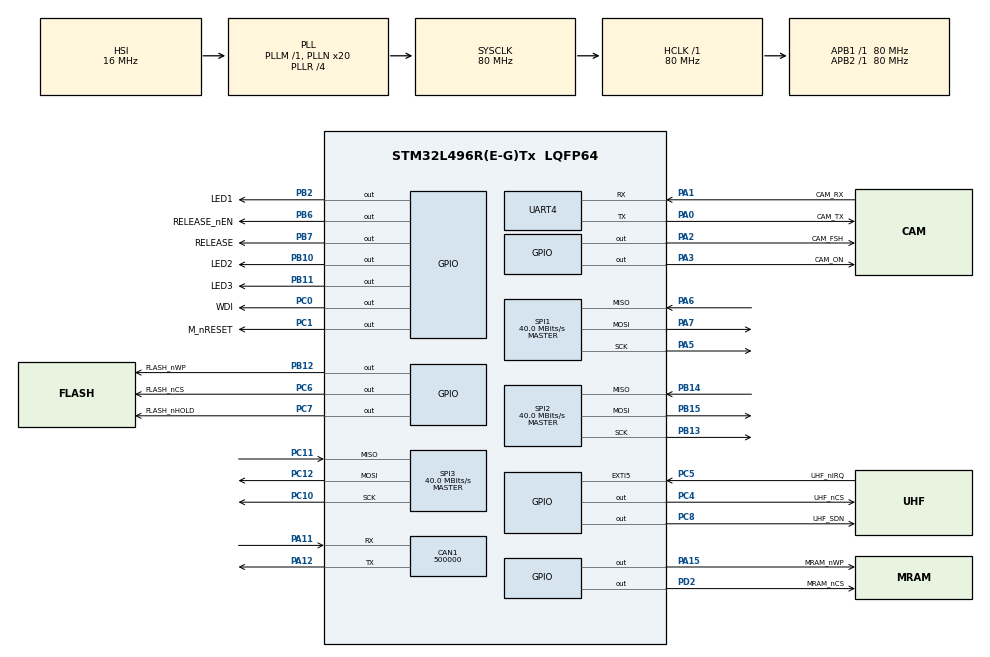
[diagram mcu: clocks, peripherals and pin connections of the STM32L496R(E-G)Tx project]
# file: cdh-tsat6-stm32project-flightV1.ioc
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CAN1.BS1=CAN_BS1_5TQ
CAN1.BS2=CAN_BS2_4TQ
CAN1.CalculateBaudRate=500000
CAN1.CalculateTimeBit=2000
CAN1.CalculateTimeQuantum=200.0
FREERTOS.Queues01=canQueue,100,CANMessage_t,0,Dynamic,NULL,NULL;flashUnitTestQueue,10,CANMessage_t,0,Dynamic,NULL,NULL;mramUnitTestQueue,10,CANMessage_t,0,Dynamic,NULL,NULL;releaseEnableQueue,10,CANMessage_t,0,Dynamic,NULL,NULL;releaseExecuteQueue,10,CANMessage_t,0,Dynamic,NULL,NULL;takePictureQueue,10,CANMessage_t,0,Dynamic,NULL,NULL;sendUHFQueue,10,CANMessage_t,0,Dynamic,NULL,NULL;getTaskListQueue,10,CANMessage_t,0,Dynamic,NULL,NULL;timeTagQueue,10,CANMessage_t,0,Dynamic,NULL,NULL
FREERTOS.Tasks01=blinkLED1,24,128,StartBlinkLED1,Default,NULL,Dynamic,NULL,NULL;blinkLED2,24,128,StartBlinkLED2,Default,NULL,Dynamic,NULL,NULL;blinkLED3,24,128,StartBlinkLED3,Default,NULL,Dynamic,NULL,NULL;toggleWDI,24,128,StartToggleWDI,Default,NULL,Dynamic,NULL,NULL;commandHandler,24,128,StartCommandHandler,Default,NULL,Dynamic,NULL,NULL;flashUnitTest,24,128,StartFlashUnitTest,Default,NULL,Dynamic,NULL,NULL;mramUnitTest,24,128,StartMRAMUnitTest,Default,NULL,Dynamic,NULL,NULL;enableRelease,24,128,StartEnableRelease,Default,NULL,Dynamic,NULL,NULL;executeRelease,24,128,StartExecuteRelease,Default,NULL,Dynamic,NULL,NULL;takePicture,24,128,StartTakePicture,Default,NULL,Dynamic,NULL,NULL;sendUHFBeacon,24,128,StartSendUHFBeacon,Default,NULL,Dynamic,NULL,NULL;getTaskList,24,128,StartGetTaskList,Default,NULL,Dynamic,NULL,NULL;timeTagTask,8,128,StartTimeTagTask,Default,NULL,Dynamic,NULL,NULL
FREERTOS.configTOTAL_HEAP_SIZE=100000
FREERTOS.configUSE_NEWLIB_REENTRANT=1
Mcu.Family=STM32L4
Mcu.Name=STM32L496R(E-G)Tx
Mcu.Package=LQFP64
NVIC.CAN1_RX0_IRQn=true\:5\:0\:false\:false\:true\:true\:true\:true\:true
NVIC.PriorityGroup=NVIC_PRIORITYGROUP_4
PA0.GPIO_Label=CAM_TX
PA0.Mode=Asynchronous
PA0.Signal=UART4_TX
PA1.GPIO_Label=CAM_RX
PA1.Mode=Asynchronous
PA1.Signal=UART4_RX
PA11.Mode=CAN_Activate
PA11.Signal=CAN1_RX
PA12.Mode=CAN_Activate
PA12.Signal=CAN1_TX
PA13\ (JTMS/SWDIO).Mode=Trace_Asynchronous_SW
PA13\ (JTMS/SWDIO).Signal=SYS_JTMS-SWDIO
PA14\ (JTCK/SWCLK).Mode=Trace_Asynchronous_SW
PA14\ (JTCK/SWCLK).Signal=SYS_JTCK-SWCLK
PA15\ (JTDI).GPIO_Label=MRAM_nWP
PA15\ (JTDI).Signal=GPIO_Output
PA2.GPIO_Label=CAM_FSH
PA2.Signal=GPIO_Output
PA3.GPIO_Label=CAM_ON
PA3.Signal=GPIO_Output
PA5.Mode=Full_Duplex_Master
PA5.Signal=SPI1_SCK
PA6.Mode=Full_Duplex_Master
PA6.Signal=SPI1_MISO
PA7.Mode=Full_Duplex_Master
PA7.Signal=SPI1_MOSI
PB10.GPIO_Label=LED2
PB10.Signal=GPIO_Output
PB11.GPIO_Label=LED3
PB11.Signal=GPIO_Output
PB12.GPIO_Label=FLASH_nWP
PB12.Signal=GPIO_Output
PB13.Mode=Full_Duplex_Master
PB13.Signal=SPI2_SCK
PB14.Mode=Full_Duplex_Master
PB14.Signal=SPI2_MISO
PB15.Mode=Full_Duplex_Master
PB15.Signal=SPI2_MOSI
PB2.GPIO_Label=LED1
PB2.Signal=GPIO_Output
PB3\ (JTDO/TRACESWO).Mode=Trace_Asynchronous_SW
PB3\ (JTDO/TRACESWO).Signal=SYS_JTDO-SWO
PB6.GPIO_Label=RELEASE_nEN
PB6.PinState=GPIO_PIN_SET
PB6.Signal=GPIO_Output
PB7.GPIO_Label=RELEASE
PB7.Signal=GPIO_Output
PC0.GPIO_Label=WDI
PC0.Signal=GPIO_Output
PC1.GPIO_Label=M_nRESET
PC1.PinState=GPIO_PIN_SET
PC1.Signal=GPIO_Output
PC10.Mode=Full_Duplex_Master
PC10.Signal=SPI3_SCK
PC11.Mode=Full_Duplex_Master
PC11.Signal=SPI3_MISO
PC12.Mode=Full_Duplex_Master
PC12.Signal=SPI3_MOSI
PC14-OSC32_IN\ (PC14).Mode=LSE-External-Oscillator
PC14-OSC32_IN\ (PC14).Signal=RCC_OSC32_IN
PC15-OSC32_OUT\ (PC15).Mode=LSE-External-Oscillator
PC15-OSC32_OUT\ (PC15).Signal=RCC_OSC32_OUT
PC4.GPIO_Label=UHF_nCS
PC4.PinState=GPIO_PIN_SET
PC4.Signal=GPIO_Output
PC5.GPIO_Label=UHF_nIRQ
PC5.Signal=GPXTI5
PC6.GPIO_Label=FLASH_nCS
PC6.PinState=GPIO_PIN_SET
PC6.Signal=GPIO_Output
PC7.GPIO_Label=FLASH_nHOLD
PC7.PinState=GPIO_PIN_SET
PC7.Signal=GPIO_Output
PC8.GPIO_Label=UHF_SDN
PC8.Signal=GPIO_Output
PD2.GPIO_Label=MRAM_nCS
PD2.PinState=GPIO_PIN_SET
PD2.Signal=GPIO_Output
PH0-OSC_IN\ (PH0).Mode=HSE-External-Oscillator
PH0-OSC_IN\ (PH0).Signal=RCC_OSC_IN
PH1-OSC_OUT\ (PH1).Mode=HSE-External-Oscillator
PH1-OSC_OUT\ (PH1).Signal=RCC_OSC_OUT
ProjectManager.HeapSize=0x200
ProjectManager.StackSize=0x400
ProjectManager.TargetToolchain=STM32CubeIDE
RCC.ADCFreq_Value=64000000
RCC.AHBFreq_Value=80000000
RCC.APB1Freq_Value=80000000
RCC.APB1TimFreq_Value=80000000
RCC.APB2Freq_Value=80000000
RCC.APB2TimFreq_Value=80000000
RCC.CortexFreq_Value=80000000
RCC.HCLKFreq_Value=80000000
RCC.HSE_Timout=200
RCC.HSE_VALUE=8000000
RCC.HSI48_VALUE=48000000
RCC.HSI_VALUE=16000000
RCC.LSE_Timout=500
RCC.MSI_VALUE=4000000
RCC.PLLN=20
RCC.PLLR=RCC_PLLR_DIV4
RCC.PLLSourceVirtual=RCC_PLLSOURCE_HSI
RCC.SYSCLKFreq_VALUE=80000000
RCC.SYSCLKSource=RCC_SYSCLKSOURCE_PLLCLK
RCC.USBFreq_Value=64000000
RCC.VCOOutputFreq_Value=320000000
SPI1.BaudRatePrescaler=SPI_BAUDRATEPRESCALER_2
SPI1.CalculateBaudRate=40.0 MBits/s
SPI1.DataSize=SPI_DATASIZE_8BIT
SPI1.Direction=SPI_DIRECTION_2LINES
SPI1.Mode=SPI_MODE_MASTER
SPI1.VirtualType=VM_MASTER
SPI2.BaudRatePrescaler=SPI_BAUDRATEPRESCALER_2
SPI2.CalculateBaudRate=40.0 MBits/s
SPI2.DataSize=SPI_DATASIZE_8BIT
SPI2.Direction=SPI_DIRECTION_2LINES
SPI2.Mode=SPI_MODE_MASTER
SPI2.VirtualType=VM_MASTER
SPI3.BaudRatePrescaler=SPI_BAUDRATEPRESCALER_2
SPI3.CalculateBaudRate=40.0 MBits/s
SPI3.DataSize=SPI_DATASIZE_8BIT
SPI3.Direction=SPI_DIRECTION_2LINES
SPI3.Mode=SPI_MODE_MASTER
SPI3.VirtualType=VM_MASTER
VP_FREERTOS_VS_CMSIS_V2.Mode=CMSIS_V2
VP_RTC_VS_RTC_Activate.Mode=RTC_Enabled
board=custom

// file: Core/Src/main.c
/* USER CODE BEGIN Header */
/**
  ******************************************************************************
  * @file           : main.c
  * @brief          : Main program body
  ******************************************************************************
  * @attention
  *
  * Copyright (c) 2023 STMicroelectronics.
  * All rights reserved.
  *
  * This software is licensed under terms that can be found in the LICENSE file
  * in the root directory of this software component.
  * If no LICENSE file comes with this software, it is provided AS-IS.
  *
  ******************************************************************************
  */
/* USER CODE END Header */
#include "main.h"
#include "cmsis_os.h"

/* USER CODE BEGIN Includes */
#include <stdio.h>
#include <stdlib.h>
#include <string.h>

#include "W25N_driver.h"
#include "W25N_driver_test.h"
#include "AS3001204_driver.h"
#include "AS3001204_driver_test.h"
#include "LEDs_driver.h"
#include "MAX6822_driver.h"
#include "LTC1154_driver.h"
#include "Si4464_driver.h"
#include "Si4464_driver_test.h"

#include "can.h"
#include "ax25.h"
/* USER CODE END Includes */

/* USER CODE BEGIN PD */
// These numbers are fairly arbitarily defined. however, we can figure out
// some mathematically-sound numbers based off of the max bitstuffed length and
// going backwards from there. -NJR
#define AX25_SCRATCH_SPACE_LEN 18
#define AX25_MESSAGE_MAX_LEN 32
#define AX25_OUTPUT_MAX_LEN 63
/* USER CODE END PD */

CAN_HandleTypeDef hcan1;

RTC_HandleTypeDef hrtc;

SPI_HandleTypeDef hspi1;
SPI_HandleTypeDef hspi2;
SPI_HandleTypeDef hspi3;

UART_HandleTypeDef huart4;

/* Definitions for blinkLED1 */
osThreadId_t blinkLED1Handle;
const osThreadAttr_t blinkLED1_attributes = {
  .name = "blinkLED1",
  .stack_size = 128 * 4,
  .priority = (osPriority_t) osPriorityNormal,
};
/* Definitions for blinkLED2 */
osThreadId_t blinkLED2Handle;
const osThreadAttr_t blinkLED2_attributes = {
  .name = "blinkLED2",
  .stack_size = 128 * 4,
  .priority = (osPriority_t) osPriorityNormal,
};
/* Definitions for blinkLED3 */
osThreadId_t blinkLED3Handle;
const osThreadAttr_t blinkLED3_attributes = {
  .name = "blinkLED3",
  .stack_size = 128 * 4,
  .priority = (osPriority_t) osPriorityNormal,
};
/* Definitions for toggleWDI */
osThreadId_t toggleWDIHandle;
const osThreadAttr_t toggleWDI_attributes = {
  .name = "toggleWDI",
  .stack_size = 128 * 4,
  .priority = (osPriority_t) osPriorityNormal,
};
/* Definitions for commandHandler */
osThreadId_t commandHandlerHandle;
const osThreadAttr_t commandHandler_attributes = {
  .name = "commandHandler",
  .stack_size = 128 * 4,
  .priority = (osPriority_t) osPriorityNormal,
};
/* Definitions for flashUnitTest */
osThreadId_t flashUnitTestHandle;
const osThreadAttr_t flashUnitTest_attributes = {
  .name = "flashUnitTest",
  .stack_size = 128 * 4,
  .priority = (osPriority_t) osPriorityNormal,
};
/* Definitions for mramUnitTest */
osThreadId_t mramUnitTestHandle;
const osThreadAttr_t mramUnitTest_attributes = {
  .name = "mramUnitTest",
  .stack_size = 128 * 4,
  .priority = (osPriority_t) osPriorityNormal,
};
/* Definitions for enableRelease */
osThreadId_t enableReleaseHandle;
const osThreadAttr_t enableRelease_attributes = {
  .name = "enableRelease",
  .stack_size = 128 * 4,
  .priority = (osPriority_t) osPriorityNormal,
};
/* Definitions for executeRelease */
osThreadId_t executeReleaseHandle;
const osThreadAttr_t executeRelease_attributes = {
  .name = "executeRelease",
  .stack_size = 128 * 4,
  .priority = (osPriority_t) osPriorityNormal,
};
/* Definitions for takePicture */
osThreadId_t takePictureHandle;
const osThreadAttr_t takePicture_attributes = {
  .name = "takePicture",
  .stack_size = 128 * 4,
  .priority = (osPriority_t) osPriorityNormal,
};
/* Definitions for sendUHFBeacon */
osThreadId_t sendUHFBeaconHandle;
const osThreadAttr_t sendUHFBeacon_attributes = {
  .name = "sendUHFBeacon",
  .stack_size = 128 * 4,
  .priority = (osPriority_t) osPriorityNormal,
};
/* Definitions for getTaskList */
osThreadId_t getTaskListHandle;
const osThreadAttr_t getTaskList_attributes = {
  .name = "getTaskList",
  .stack_size = 128 * 4,
  .priority = (osPriority_t) osPriorityNormal,
};
/* Definitions for timeTagTask */
osThreadId_t timeTagTaskHandle;
const osThreadAttr_t timeTagTask_attributes = {
  .name = "timeTagTask",
  .stack_size = 128 * 4,
  .priority = (osPriority_t) osPriorityLow,
};
/* Definitions for canQueue */
osMessageQueueId_t canQueueHandle;
const osMessageQueueAttr_t canQueue_attributes = {
  .name = "canQueue"
};
/* Definitions for flashUnitTestQueue */
osMessageQueueId_t flashUnitTestQueueHandle;
const osMessageQueueAttr_t flashUnitTestQueue_attributes = {
  .name = "flashUnitTestQueue"
};
/* Definitions for mramUnitTestQueue */
osMessageQueueId_t mramUnitTestQueueHandle;
const osMessageQueueAttr_t mramUnitTestQueue_attributes = {
  .name = "mramUnitTestQueue"
};
/* Definitions for releaseEnableQueue */
osMessageQueueId_t releaseEnableQueueHandle;
const osMessageQueueAttr_t releaseEnableQueue_attributes = {
  .name = "releaseEnableQueue"
};
/* Definitions for releaseExecuteQueue */
osMessageQueueId_t releaseExecuteQueueHandle;
const osMessageQueueAttr_t releaseExecuteQueue_attributes = {
  .name = "releaseExecuteQueue"
};
/* Definitions for takePictureQueue */
osMessageQueueId_t takePictureQueueHandle;
const osMessageQueueAttr_t takePictureQueue_attributes = {
  .name = "takePictureQueue"
};
/* Definitions for sendUHFQueue */
osMessageQueueId_t sendUHFQueueHandle;
const osMessageQueueAttr_t sendUHFQueue_attributes = {
  .name = "sendUHFQueue"
};
/* Definitions for getTaskListQueue */
osMessageQueueId_t getTaskListQueueHandle;
const osMessageQueueAttr_t getTaskListQueue_attributes = {
  .name = "getTaskListQueue"
};
/* Definitions for timeTagQueue */
osMessageQueueId_t timeTagQueueHandle;
const osMessageQueueAttr_t timeTagQueue_attributes = {
  .name = "timeTagQueue"
};

void SystemClock_Config(void);
static void MX_GPIO_Init(void);
static void MX_CAN1_Init(void);
static void MX_SPI1_Init(void);
static void MX_SPI2_Init(void);
static void MX_SPI3_Init(void);
static void MX_UART4_Init(void);
static void MX_RTC_Init(void);
void StartBlinkLED1(void *argument);
void StartBlinkLED2(void *argument);
void StartBlinkLED3(void *argument);
void StartToggleWDI(void *argument);
void StartCommandHandler(void *argument);
void StartFlashUnitTest(void *argument);
void StartMRAMUnitTest(void *argument);
void StartEnableRelease(void *argument);
void StartExecuteRelease(void *argument);
void StartTakePicture(void *argument);
void StartSendUHFBeacon(void *argument);
void StartGetTaskList(void *argument);
void StartTimeTagTask(void *argument);

int main(void)
{

  /* MCU Configuration--------------------------------------------------------*/

  /* Reset of all peripherals, Initializes the Flash interface and the Systick. */
  HAL_Init();

  /* Configure the system clock */
  SystemClock_Config();

  /* Initialize all configured peripherals */
  MX_GPIO_Init();
  MX_CAN1_Init();
  MX_SPI1_Init();
  MX_SPI2_Init();
  MX_SPI3_Init();
  MX_UART4_Init();
  MX_RTC_Init();
  /* USER CODE BEGIN 2 */
  MAX6822_Init();

  LEDs_Init();

  LTC1154_Init();

  HAL_StatusTypeDef can_operation_status;
  can_operation_status = CAN_Init();
  if (can_operation_status != HAL_OK) goto error;

  W25N_StatusTypeDef w25n_operation_status;
  w25n_operation_status = W25N_Init();
  if (w25n_operation_status != W25N_HAL_OK) goto error;

  HAL_StatusTypeDef as3001204_operation_status;
  as3001204_operation_status = AS3001204_Init();
  if (as3001204_operation_status != HAL_OK) goto error;

  Si4464_StatusTypeDef si4464_operation_status;
  Si4464_Reset_Device();
  Si4464_Get_CTS(); // Doesn't pass errors via return value.
  si4464_operation_status = Si4464_Init_Device();
  if (si4464_operation_status != SI4464_HAL_OK) goto error;
  si4464_operation_status = Si4464_Set_One_Prop(0x12, 0x06, 0x01);
  if (si4464_operation_status != SI4464_HAL_OK) goto error;

  //this code performs the W25N unit tests
  //this code should be completed after power cycling the W25N
  /*w25n_operation_status = Test_W25N();
  if (w25n_operation_status != W25N_HAL_OK) goto error;
  w25n_operation_status = W25N_Reset_And_Init();
  if (w25n_operation_status != W25N_HAL_OK) goto error;*/

  //this code performs the AS3001204 unit tests
  //this code should be completed after power cycling the AS3001204
  /*as3001204_operation_status = AS3001204_Test_MRAM_Driver();
  if (as3001204_operation_status != HAL_OK) goto error;
  as3001204_operation_status = AS3001204_Init();
  if (as3001204_operation_status != HAL_OK) goto error;*/

  // This code performs the Si4464 unit tests.
  // This code should be completed after power cycling the Si4464.
  si4464_operation_status = Test_Si4464();
  if (si4464_operation_status != SI4464_HAL_OK) goto error;

  /* USER CODE END 2 */

  /* Init scheduler */
  osKernelInitialize();

  /* Create the queue(s) */
  /* creation of canQueue */
  canQueueHandle = osMessageQueueNew (100, sizeof(CANMessage_t), &canQueue_attributes);

  /* creation of flashUnitTestQueue */
  flashUnitTestQueueHandle = osMessageQueueNew (10, sizeof(CANMessage_t), &flashUnitTestQueue_attributes);

  /* creation of mramUnitTestQueue */
  mramUnitTestQueueHandle = osMessageQueueNew (10, sizeof(CANMessage_t), &mramUnitTestQueue_attributes);

  /* creation of releaseEnableQueue */
  releaseEnableQueueHandle = osMessageQueueNew (10, sizeof(CANMessage_t), &releaseEnableQueue_attributes);

  /* creation of releaseExecuteQueue */
  releaseExecuteQueueHandle = osMessageQueueNew (10, sizeof(CANMessage_t), &releaseExecuteQueue_attributes);

  /* creation of takePictureQueue */
  takePictureQueueHandle = osMessageQueueNew (10, sizeof(CANMessage_t), &takePictureQueue_attributes);

  /* creation of sendUHFQueue */
  sendUHFQueueHandle = osMessageQueueNew (10, sizeof(CANMessage_t), &sendUHFQueue_attributes);

  /* creation of getTaskListQueue */
  getTaskListQueueHandle = osMessageQueueNew (10, sizeof(CANMessage_t), &getTaskListQueue_attributes);

  /* creation of timeTagQueue */
  timeTagQueueHandle = osMessageQueueNew (10, sizeof(CANMessage_t), &timeTagQueue_attributes);

  /* Create the thread(s) */
  /* creation of blinkLED1 */
  blinkLED1Handle = osThreadNew(StartBlinkLED1, NULL, &blinkLED1_attributes);

  /* creation of blinkLED2 */
  blinkLED2Handle = osThreadNew(StartBlinkLED2, NULL, &blinkLED2_attributes);

  /* creation of blinkLED3 */
  blinkLED3Handle = osThreadNew(StartBlinkLED3, NULL, &blinkLED3_attributes);

  /* creation of toggleWDI */
  toggleWDIHandle = osThreadNew(StartToggleWDI, NULL, &toggleWDI_attributes);

  /* creation of commandHandler */
  commandHandlerHandle = osThreadNew(StartCommandHandler, NULL, &commandHandler_attributes);

  /* creation of flashUnitTest */
  flashUnitTestHandle = osThreadNew(StartFlashUnitTest, NULL, &flashUnitTest_attributes);

  /* creation of mramUnitTest */
  mramUnitTestHandle = osThreadNew(StartMRAMUnitTest, NULL, &mramUnitTest_attributes);

  /* creation of enableRelease */
  enableReleaseHandle = osThreadNew(StartEnableRelease, NULL, &enableRelease_attributes);

  /* creation of executeRelease */
  executeReleaseHandle = osThreadNew(StartExecuteRelease, NULL, &executeRelease_attributes);

  /* creation of takePicture */
  takePictureHandle = osThreadNew(StartTakePicture, NULL, &takePicture_attributes);

  /* creation of sendUHFBeacon */
  sendUHFBeaconHandle = osThreadNew(StartSendUHFBeacon, NULL, &sendUHFBeacon_attributes);

  /* creation of getTaskList */
  getTaskListHandle = osThreadNew(StartGetTaskList, NULL, &getTaskList_attributes);

  /* creation of timeTagTask */
  timeTagTaskHandle = osThreadNew(StartTimeTagTask, NULL, &timeTagTask_attributes);

  /* Start scheduler */
  osKernelStart();
  /* We should never get here as control is now taken by the scheduler */
  /* Infinite loop */
  while (1)
  {

    /* USER CODE BEGIN 3 */
  }

error:
  exit(1);
  /* USER CODE END 3 */
}

void SystemClock_Config(void)
{
  RCC_OscInitTypeDef RCC_OscInitStruct = {0};
  RCC_ClkInitTypeDef RCC_ClkInitStruct = {0};

  /** Configure the main internal regulator output voltage
  */
  if (HAL_PWREx_ControlVoltageScaling(PWR_REGULATOR_VOLTAGE_SCALE1) != HAL_OK)
  {
    Error_Handler();
  }

  /** Initializes the RCC Oscillators according to the specified parameters
  * in the RCC_OscInitTypeDef structure.
  */
  RCC_OscInitStruct.OscillatorType = RCC_OSCILLATORTYPE_HSI|RCC_OSCILLATORTYPE_LSI;
  RCC_OscInitStruct.HSIState = RCC_HSI_ON;
  RCC_OscInitStruct.HSICalibrationValue = RCC_HSICALIBRATION_DEFAULT;
  RCC_OscInitStruct.LSIState = RCC_LSI_ON;
  RCC_OscInitStruct.PLL.PLLState = RCC_PLL_ON;
  RCC_OscInitStruct.PLL.PLLSource = RCC_PLLSOURCE_HSI;
  RCC_OscInitStruct.PLL.PLLM = 1;
  RCC_OscInitStruct.PLL.PLLN = 20;
  RCC_OscInitStruct.PLL.PLLP = RCC_PLLP_DIV2;
  RCC_OscInitStruct.PLL.PLLQ = RCC_PLLQ_DIV2;
  RCC_OscInitStruct.PLL.PLLR = RCC_PLLR_DIV4;
  if (HAL_RCC_OscConfig(&RCC_OscInitStruct) != HAL_OK)
  {
    Error_Handler();
  }

  /** Initializes the CPU, AHB and APB buses clocks
  */
  RCC_ClkInitStruct.ClockType = RCC_CLOCKTYPE_HCLK|RCC_CLOCKTYPE_SYSCLK
                              |RCC_CLOCKTYPE_PCLK1|RCC_CLOCKTYPE_PCLK2;
  RCC_ClkInitStruct.SYSCLKSource = RCC_SYSCLKSOURCE_PLLCLK;
  RCC_ClkInitStruct.AHBCLKDivider = RCC_SYSCLK_DIV1;
  RCC_ClkInitStruct.APB1CLKDivider = RCC_HCLK_DIV1;
  RCC_ClkInitStruct.APB2CLKDivider = RCC_HCLK_DIV1;

  if (HAL_RCC_ClockConfig(&RCC_ClkInitStruct, FLASH_LATENCY_4) != HAL_OK)
  {
    Error_Handler();
  }
}

static void MX_CAN1_Init(void)
{

  hcan1.Instance = CAN1;
  hcan1.Init.Prescaler = 16;
  hcan1.Init.Mode = CAN_MODE_NORMAL;
  hcan1.Init.SyncJumpWidth = CAN_SJW_1TQ;
  hcan1.Init.TimeSeg1 = CAN_BS1_5TQ;
  hcan1.Init.TimeSeg2 = CAN_BS2_4TQ;
  hcan1.Init.TimeTriggeredMode = DISABLE;
  hcan1.Init.AutoBusOff = DISABLE;
  hcan1.Init.AutoWakeUp = DISABLE;
  hcan1.Init.AutoRetransmission = DISABLE;
  hcan1.Init.ReceiveFifoLocked = DISABLE;
  hcan1.Init.TransmitFifoPriority = DISABLE;
  if (HAL_CAN_Init(&hcan1) != HAL_OK)
  {
    Error_Handler();
  }

}

static void MX_RTC_Init(void)
{

  /** Initialize RTC Only
  */
  hrtc.Instance = RTC;
  hrtc.Init.HourFormat = RTC_HOURFORMAT_24;
  hrtc.Init.AsynchPrediv = 127;
  hrtc.Init.SynchPrediv = 255;
  hrtc.Init.OutPut = RTC_OUTPUT_DISABLE;
  hrtc.Init.OutPutRemap = RTC_OUTPUT_REMAP_NONE;
  hrtc.Init.OutPutPolarity = RTC_OUTPUT_POLARITY_HIGH;
  hrtc.Init.OutPutType = RTC_OUTPUT_TYPE_OPENDRAIN;
  if (HAL_RTC_Init(&hrtc) != HAL_OK)
  {
    Error_Handler();
  }

}

static void MX_SPI1_Init(void)
{

  /* SPI1 parameter configuration*/
  hspi1.Instance = SPI1;
  hspi1.Init.Mode = SPI_MODE_MASTER;
  hspi1.Init.Direction = SPI_DIRECTION_2LINES;
  hspi1.Init.DataSize = SPI_DATASIZE_8BIT;
  hspi1.Init.CLKPolarity = SPI_POLARITY_LOW;
  hspi1.Init.CLKPhase = SPI_PHASE_1EDGE;
  hspi1.Init.NSS = SPI_NSS_SOFT;
  hspi1.Init.BaudRatePrescaler = SPI_BAUDRATEPRESCALER_2;
  hspi1.Init.FirstBit = SPI_FIRSTBIT_MSB;
  hspi1.Init.TIMode = SPI_TIMODE_DISABLE;
  hspi1.Init.CRCCalculation = SPI_CRCCALCULATION_DISABLE;
  hspi1.Init.CRCPolynomial = 7;
  hspi1.Init.CRCLength = SPI_CRC_LENGTH_DATASIZE;
  hspi1.Init.NSSPMode = SPI_NSS_PULSE_ENABLE;
  if (HAL_SPI_Init(&hspi1) != HAL_OK)
  {
    Error_Handler();
  }

}

static void MX_SPI2_Init(void)
{

  /* SPI2 parameter configuration*/
  hspi2.Instance = SPI2;
  hspi2.Init.Mode = SPI_MODE_MASTER;
  hspi2.Init.Direction = SPI_DIRECTION_2LINES;
  hspi2.Init.DataSize = SPI_DATASIZE_8BIT;
  hspi2.Init.CLKPolarity = SPI_POLARITY_LOW;
  hspi2.Init.CLKPhase = SPI_PHASE_1EDGE;
  hspi2.Init.NSS = SPI_NSS_SOFT;
  hspi2.Init.BaudRatePrescaler = SPI_BAUDRATEPRESCALER_2;
  hspi2.Init.FirstBit = SPI_FIRSTBIT_MSB;
  hspi2.Init.TIMode = SPI_TIMODE_DISABLE;
  hspi2.Init.CRCCalculation = SPI_CRCCALCULATION_DISABLE;
  hspi2.Init.CRCPolynomial = 7;
  hspi2.Init.CRCLength = SPI_CRC_LENGTH_DATASIZE;
  hspi2.Init.NSSPMode = SPI_NSS_PULSE_ENABLE;
  if (HAL_SPI_Init(&hspi2) != HAL_OK)
  {
    Error_Handler();
  }

}

static void MX_SPI3_Init(void)
{

  /* SPI3 parameter configuration*/
  hspi3.Instance = SPI3;
  hspi3.Init.Mode = SPI_MODE_MASTER;
  hspi3.Init.Direction = SPI_DIRECTION_2LINES;
  hspi3.Init.DataSize = SPI_DATASIZE_8BIT;
  hspi3.Init.CLKPolarity = SPI_POLARITY_LOW;
  hspi3.Init.CLKPhase = SPI_PHASE_1EDGE;
  hspi3.Init.NSS = SPI_NSS_SOFT;
  hspi3.Init.BaudRatePrescaler = SPI_BAUDRATEPRESCALER_2;
  hspi3.Init.FirstBit = SPI_FIRSTBIT_MSB;
  hspi3.Init.TIMode = SPI_TIMODE_DISABLE;
  hspi3.Init.CRCCalculation = SPI_CRCCALCULATION_DISABLE;
  hspi3.Init.CRCPolynomial = 7;
  hspi3.Init.CRCLength = SPI_CRC_LENGTH_DATASIZE;
  hspi3.Init.NSSPMode = SPI_NSS_PULSE_ENABLE;
  if (HAL_SPI_Init(&hspi3) != HAL_OK)
  {
    Error_Handler();
  }

}

static void MX_UART4_Init(void)
{

  huart4.Instance = UART4;
  huart4.Init.BaudRate = 115200;
  huart4.Init.WordLength = UART_WORDLENGTH_8B;
  huart4.Init.StopBits = UART_STOPBITS_1;
  huart4.Init.Parity = UART_PARITY_NONE;
  huart4.Init.Mode = UART_MODE_TX_RX;
  huart4.Init.HwFlowCtl = UART_HWCONTROL_NONE;
  huart4.Init.OverSampling = UART_OVERSAMPLING_16;
  huart4.Init.OneBitSampling = UART_ONE_BIT_SAMPLE_DISABLE;
  huart4.AdvancedInit.AdvFeatureInit = UART_ADVFEATURE_NO_INIT;
  if (HAL_UART_Init(&huart4) != HAL_OK)
  {
    Error_Handler();
  }

}

static void MX_GPIO_Init(void)
{
  GPIO_InitTypeDef GPIO_InitStruct = {0};

  /* GPIO Ports Clock Enable */
  __HAL_RCC_GPIOC_CLK_ENABLE();
  __HAL_RCC_GPIOH_CLK_ENABLE();
  __HAL_RCC_GPIOA_CLK_ENABLE();
  __HAL_RCC_GPIOB_CLK_ENABLE();
  __HAL_RCC_GPIOD_CLK_ENABLE();

  /*Configure GPIO pin Output Level */
  HAL_GPIO_WritePin(GPIOC, WDI_Pin|UHF_SDN_Pin, GPIO_PIN_RESET);

  /*Configure GPIO pin Output Level */
  HAL_GPIO_WritePin(GPIOC, M_nRESET_Pin|UHF_nCS_Pin|FLASH_nCS_Pin|FLASH_nHOLD_Pin, GPIO_PIN_SET);

  /*Configure GPIO pin Output Level */
  HAL_GPIO_WritePin(GPIOA, CAM_FSH_Pin|CAM_ON_Pin|MRAM_nWP_Pin, GPIO_PIN_RESET);

  /*Configure GPIO pin Output Level */
  HAL_GPIO_WritePin(GPIOB, LED1_Pin|LED2_Pin|LED3_Pin|FLASH_nWP_Pin
                          |RELEASE_Pin, GPIO_PIN_RESET);

  /*Configure GPIO pin Output Level */
  HAL_GPIO_WritePin(MRAM_nCS_GPIO_Port, MRAM_nCS_Pin, GPIO_PIN_SET);

  /*Configure GPIO pin Output Level */
  HAL_GPIO_WritePin(RELEASE_nEN_GPIO_Port, RELEASE_nEN_Pin, GPIO_PIN_SET);

  /*Configure GPIO pins : WDI_Pin M_nRESET_Pin UHF_nCS_Pin FLASH_nCS_Pin
                           FLASH_nHOLD_Pin UHF_SDN_Pin */
  GPIO_InitStruct.Pin = WDI_Pin|M_nRESET_Pin|UHF_nCS_Pin|FLASH_nCS_Pin
                          |FLASH_nHOLD_Pin|UHF_SDN_Pin;
  GPIO_InitStruct.Mode = GPIO_MODE_OUTPUT_PP;
  GPIO_InitStruct.Pull = GPIO_NOPULL;
  GPIO_InitStruct.Speed = GPIO_SPEED_FREQ_LOW;
  HAL_GPIO_Init(GPIOC, &GPIO_InitStruct);

  /*Configure GPIO pins : CAM_FSH_Pin CAM_ON_Pin MRAM_nWP_Pin */
  GPIO_InitStruct.Pin = CAM_FSH_Pin|CAM_ON_Pin|MRAM_nWP_Pin;
  GPIO_InitStruct.Mode = GPIO_MODE_OUTPUT_PP;
  GPIO_InitStruct.Pull = GPIO_NOPULL;
  GPIO_InitStruct.Speed = GPIO_SPEED_FREQ_LOW;
  HAL_GPIO_Init(GPIOA, &GPIO_InitStruct);

  /*Configure GPIO pin : UHF_nIRQ_Pin */
  GPIO_InitStruct.Pin = UHF_nIRQ_Pin;
  GPIO_InitStruct.Mode = GPIO_MODE_IT_RISING;
  GPIO_InitStruct.Pull = GPIO_NOPULL;
  HAL_GPIO_Init(UHF_nIRQ_GPIO_Port, &GPIO_InitStruct);

  /*Configure GPIO pins : LED1_Pin LED2_Pin LED3_Pin FLASH_nWP_Pin
                           RELEASE_nEN_Pin RELEASE_Pin */
  GPIO_InitStruct.Pin = LED1_Pin|LED2_Pin|LED3_Pin|FLASH_nWP_Pin
                          |RELEASE_nEN_Pin|RELEASE_Pin;
  GPIO_InitStruct.Mode = GPIO_MODE_OUTPUT_PP;
  GPIO_InitStruct.Pull = GPIO_NOPULL;
  GPIO_InitStruct.Speed = GPIO_SPEED_FREQ_LOW;
  HAL_GPIO_Init(GPIOB, &GPIO_InitStruct);

  /*Configure GPIO pin : MRAM_nCS_Pin */
  GPIO_InitStruct.Pin = MRAM_nCS_Pin;
  GPIO_InitStruct.Mode = GPIO_MODE_OUTPUT_PP;
  GPIO_InitStruct.Pull = GPIO_NOPULL;
  GPIO_InitStruct.Speed = GPIO_SPEED_FREQ_LOW;
  HAL_GPIO_Init(MRAM_nCS_GPIO_Port, &GPIO_InitStruct);

}

/* USER CODE BEGIN 4 */
/**
  * @brief  Rx Fifo 0 message pending callback
  * @param  hcan: pointer to a CAN_HandleTypeDef structure that contains
  *         the configuration information for the specified CAN.
  * @retval None
  */
void HAL_CAN_RxFifo0MsgPendingCallback(CAN_HandleTypeDef *hcan1)
{
    HAL_StatusTypeDef operation_status;
    operation_status = CAN_Message_Received();
    if (operation_status != HAL_OK)
    {
        //TODO: Implement error handling for CAN message receives
    }
}
/* USER CODE END 4 */

void StartBlinkLED1(void *argument)
{
  /* USER CODE BEGIN 5 */
  /* Infinite loop */
  for(;;)
  {
    LED1_Toggle();
    osDelay(1000);
  }
  /* USER CODE END 5 */
}

void StartBlinkLED2(void *argument)
{
  /* USER CODE BEGIN StartBlinkLED2 */
  /* Infinite loop */
  for(;;)
  {
    LED2_Toggle();
    osDelay(500);
  }
  /* USER CODE END StartBlinkLED2 */
}

void StartBlinkLED3(void *argument)
{
  /* USER CODE BEGIN StartBlinkLED3 */
  /* Infinite loop */
  for(;;)
  {
    LED3_Toggle();
    osDelay(250);
  }
  /* USER CODE END StartBlinkLED3 */
}

void StartToggleWDI(void *argument)
{
  /* USER CODE BEGIN StartToggleWDI */
  /* Infinite loop */
  for(;;)
  {
    MAX6822_WDI_Toggle();
    osDelay(100);
  }
  /* USER CODE END StartToggleWDI */
}

void StartCommandHandler(void *argument)
{
  /* USER CODE BEGIN StartCommandHandler */
    CANMessage_t can_message;
  /* Infinite loop */
  for(;;)
  {
    osMessageQueueGet(canQueueHandle, &can_message, NULL, osWaitForever);
    switch (can_message.command) {
    case 0x41:
        osMessageQueuePut(flashUnitTestQueueHandle, &can_message, 0, 200);
        break;
    case 0x42:
        osMessageQueuePut(mramUnitTestQueueHandle, &can_message, 0, 200);
        break;
    case 0x43:
        osMessageQueuePut(releaseEnableQueueHandle, &can_message, 0, 200);
        break;
    case 0x44:
        osMessageQueuePut(releaseExecuteQueueHandle, &can_message, 0, 200);
        break;
    case 0x45:
        osMessageQueuePut(takePictureQueueHandle, &can_message, 0, 200);
        break;
    case 0x46:
        osMessageQueuePut(sendUHFQueueHandle, &can_message, 0, 200);
        break;
    case 0x47:
        osMessageQueuePut(getTaskListQueueHandle, &can_message, 0, 200);
        break;
    case 0x48:
        osMessageQueuePut(timeTagQueueHandle, &can_message, 0, 200);
        break;
    default:
        break;
    }
  }
  /* USER CODE END StartCommandHandler */
}

void StartFlashUnitTest(void *argument)
{
  /* USER CODE BEGIN StartFlashUnitTest */
    CANMessage_t can_message;
    uint8_t response_data[6] = {0,0,0,0,0,0};
  /* Infinite loop */
  for(;;)
  {
      osMessageQueueGet(flashUnitTestQueueHandle, &can_message, NULL, osWaitForever);
  }
  /* USER CODE END StartFlashUnitTest */
}

void StartMRAMUnitTest(void *argument)
{
  /* USER CODE BEGIN StartMRAMUnitTest */
    CANMessage_t can_message;
    uint8_t response_data[6] = {0,0,0,0,0,0};
  /* Infinite loop */
  for(;;)
  {
      osMessageQueueGet(mramUnitTestQueueHandle, &can_message, NULL, osWaitForever);
      CAN_Send_Default_ACK_With_Data(can_message, response_data);
  }
  /* USER CODE END StartMRAMUnitTest */
}

void StartEnableRelease(void *argument)
{
  /* USER CODE BEGIN StartEnableRelease */
    CANMessage_t can_message;
    uint8_t response_data[6] = {0,0,0,0,0,0};
  /* Infinite loop */
  for(;;)
  {
      osMessageQueueGet(releaseEnableQueueHandle, &can_message, NULL, osWaitForever);
      CAN_Send_Default_ACK_With_Data(can_message, response_data);
  }
  /* USER CODE END StartEnableRelease */
}

void StartExecuteRelease(void *argument)
{
  /* USER CODE BEGIN StartExecuteRelease */
    CANMessage_t can_message;
    uint8_t response_data[6] = {0,0,0,0,0,0};
  /* Infinite loop */
  for(;;)
  {
      osMessageQueueGet(releaseExecuteQueueHandle, &can_message, NULL, osWaitForever);
      CAN_Send_Default_ACK_With_Data(can_message, response_data);
  }
  /* USER CODE END StartExecuteRelease */
}

void StartTakePicture(void *argument)
{
  /* USER CODE BEGIN StartTakePicture */
    CANMessage_t can_message;
    uint8_t response_data[6] = {0,0,0,0,0,0};
  /* Infinite loop */
  for(;;)
  {
      osMessageQueueGet(takePictureQueueHandle, &can_message, NULL, osWaitForever);
      CAN_Send_Default_ACK_With_Data(can_message, response_data);
  }
  /* USER CODE END StartTakePicture */
}

void StartSendUHFBeacon(void *argument)
{
  /* USER CODE BEGIN StartSendUHFBeacon */
    CANMessage_t can_message;
    uint8_t response_data[6] = {0,0,0,0,0,0};
  /* Infinite loop */
  for(;;)
  {
      osMessageQueueGet(sendUHFQueueHandle, &can_message, NULL, osWaitForever);
      CAN_Send_Default_ACK_With_Data(can_message, response_data);
  }
  /* USER CODE END StartSendUHFBeacon */
}

void StartGetTaskList(void *argument)
{
  /* USER CODE BEGIN StartGetTaskList */
    CANMessage_t can_message;
    uint8_t response_data[6] = {0,0,0,0,0,0};
  /* Infinite loop */
  for(;;)
  {
      osMessageQueueGet(getTaskListQueueHandle, &can_message, NULL, osWaitForever);
      CAN_Send_Default_ACK_With_Data(can_message, response_data);
  }
  /* USER CODE END StartGetTaskList */
}

void StartTimeTagTask(void *argument)
{
  /* USER CODE BEGIN StartTimeTagTask */
    CANMessage_t can_message;
    uint8_t response_data[6] = {0,0,0,0,0,0};
  /* Infinite loop */
  for(;;)
  {
      osMessageQueueGet(timeTagQueueHandle, &can_message, NULL, osWaitForever);
      CAN_Send_Default_ACK_With_Data(can_message, response_data);
  }
  /* USER CODE END StartTimeTagTask */
}

void Error_Handler(void)
{
  __disable_irq();
  while (1)
  {
  }
}
